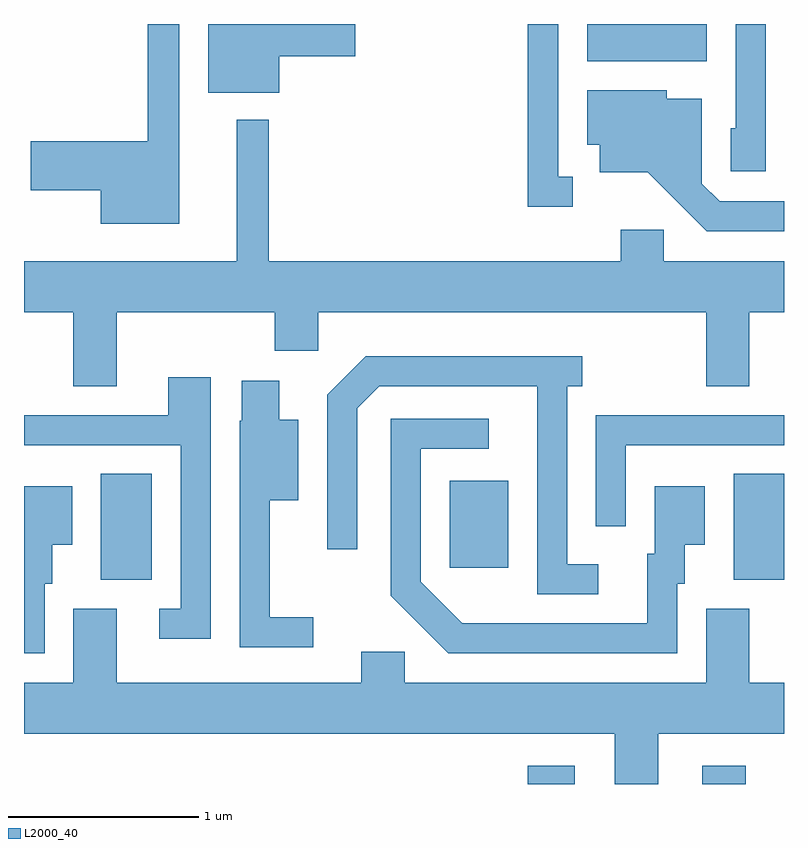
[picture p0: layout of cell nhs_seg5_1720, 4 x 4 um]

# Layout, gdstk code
import gdstk
lib = gdstk.Library(unit=1e-6, precision=1e-09)
def R(c, l, rs):  # rectangles x0, y0, x1, y1
    for r in rs: c.add(gdstk.rectangle(r[:2], r[2:], *l))
def P(c, l, *ps):  # polygons
    for p in ps: c.add(gdstk.Polygon(p, *l))
L2000_40 = (2000, 40)

nhs_seg5_1720 = lib.new_cell('nhs_seg5_1720')
R(nhs_seg5_1720, L2000_40, [(238.261,1472.072,238.509,1472.169), (239.181,1472.072,239.409,1472.169), (236.016,1473.146,236.284,1473.704), (239.346,1473.146,239.611,1473.704), (237.851,1473.211,238.159,1473.669), (238.576,1475.876,239.204,1476.072)])
P(nhs_seg5_1720, L2000_40, [(236.429,1476.072),(236.261,1476.072),(236.261,1475.454),(235.646,1475.454),(235.646,1475.196),(236.016,1475.196),(236.016,1475.021),(236.429,1475.021)],
  [(238.498,1475.269),(238.424,1475.269),(238.424,1476.072),(238.261,1476.072),(238.261,1475.111),(238.498,1475.111)],
  [(239.514,1476.072),(239.356,1476.072),(239.356,1475.524),(239.331,1475.524),(239.331,1475.296),(239.514,1475.296)],
  [(236.954,1475.901),(237.354,1475.901),(237.354,1476.072),(236.581,1476.072),(236.581,1475.711),(236.954,1475.711)],
  [(239.611,1475.139),(239.272,1475.139),(239.179,1475.232),(239.179,1475.679),(238.994,1475.679),(238.994,1475.724),(238.576,1475.724),(238.576,1475.436),(238.641,1475.436),(238.641,1475.291),(238.894,1475.291),(239.204,1474.981),(239.611,1474.981)],
  [(236.099,1474.556),(236.931,1474.556),(236.931,1474.351),(237.159,1474.351),(237.159,1474.556),(239.201,1474.556),(239.201,1474.166),(239.429,1474.166),(239.429,1474.556),(239.611,1474.556),(239.611,1474.824),(238.979,1474.824),(238.979,1474.989),(238.751,1474.989),(238.751,1474.824),(236.899,1474.824),(236.899,1475.568),(236.731,1475.568),(236.731,1474.824),(235.611,1474.824),(235.611,1474.556),(235.871,1474.556),(235.871,1474.166),(236.099,1474.166)],
  [(238.633,1473.229),(238.469,1473.229),(238.469,1474.166),(238.548,1474.166),(238.548,1474.324),(237.409,1474.324),(237.206,1474.122),(237.206,1473.308),(237.364,1473.308),(237.364,1474.049),(237.482,1474.166),(238.311,1474.166),(238.311,1473.071),(238.633,1473.071)],
  [(236.594,1474.214),(236.371,1474.214),(236.371,1474.014),(235.611,1474.014),(235.611,1473.856),(236.436,1473.856),(236.436,1472.994),(236.323,1472.994),(236.323,1472.836),(236.594,1472.836)],
  [(237.133,1472.949),(236.904,1472.949),(236.904,1473.566),(237.054,1473.566),(237.054,1473.989),(236.954,1473.989),(236.954,1474.194),(236.756,1474.194),(236.756,1473.985),(236.746,1473.985),(236.746,1472.791),(237.133,1472.791)],
  [(238.779,1473.856),(239.611,1473.856),(239.611,1474.014),(238.621,1474.014),(238.621,1473.428),(238.779,1473.428)],
  [(239.049,1473.126),(239.089,1473.126),(239.089,1473.331),(239.194,1473.331),(239.194,1473.639),(238.931,1473.639),(238.931,1473.284),(238.891,1473.284),(238.891,1472.919),(237.917,1472.919),(237.699,1473.137),(237.699,1473.836),(238.058,1473.836),(238.058,1473.994),(237.541,1473.994),(237.541,1473.064),(237.844,1472.761),(239.049,1472.761)],
  [(235.719,1473.126),(235.759,1473.126),(235.759,1473.331),(235.864,1473.331),(235.864,1473.639),(235.611,1473.639),(235.611,1472.761),(235.719,1472.761)],
  [(238.949,1472.336),(239.611,1472.336),(239.611,1472.604),(239.429,1472.604),(239.429,1472.994),(239.201,1472.994),(239.201,1472.604),(237.614,1472.604),(237.614,1472.769),(237.386,1472.769),(237.386,1472.604),(236.099,1472.604),(236.099,1472.994),(235.871,1472.994),(235.871,1472.604),(235.611,1472.604),(235.611,1472.336),(238.721,1472.336),(238.721,1472.072),(238.949,1472.072)])

lib.write_gds('nhs_seg5_1720.gds')
